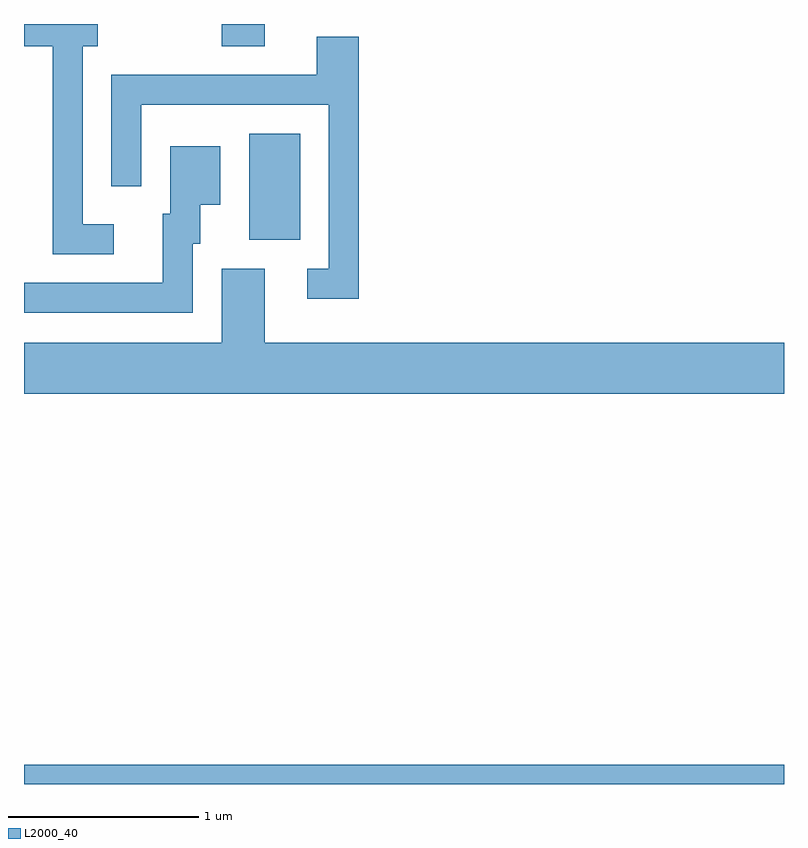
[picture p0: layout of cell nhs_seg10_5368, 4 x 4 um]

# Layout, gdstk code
import gdstk
lib = gdstk.Library(unit=1e-6, precision=1e-09)
def R(c, l, rs):  # rectangles x0, y0, x1, y1
    for r in rs: c.add(gdstk.rectangle(r[:2], r[2:], *l))
def P(c, l, *ps):  # polygons
    for p in ps: c.add(gdstk.Polygon(p, *l))
L2000_40 = (2000, 40)

nhs_seg10_5368 = lib.new_cell('nhs_seg10_5368')
R(nhs_seg10_5368, L2000_40, [(343.611,2118.522,347.611,2118.624), (344.796,2121.386,345.064,2121.944), (344.651,2122.406,344.879,2122.522)])
P(nhs_seg10_5368, L2000_40, [(344.083,2121.469),(343.919,2121.469),(343.919,2122.406),(343.998,2122.406),(343.998,2122.522),(343.611,2122.522),(343.611,2122.406),(343.761,2122.406),(343.761,2121.311),(344.083,2121.311)],
  [(345.374,2122.454),(345.151,2122.454),(345.151,2122.254),(344.071,2122.254),(344.071,2121.668),(344.229,2121.668),(344.229,2122.096),(345.216,2122.096),(345.216,2121.234),(345.103,2121.234),(345.103,2121.076),(345.374,2121.076)],
  [(344.499,2121.366),(344.539,2121.366),(344.539,2121.571),(344.644,2121.571),(344.644,2121.879),(344.381,2121.879),(344.381,2121.524),(344.341,2121.524),(344.341,2121.159),(343.611,2121.159),(343.611,2121.001),(344.499,2121.001)],
  [(347.611,2120.844),(344.879,2120.844),(344.879,2121.234),(344.651,2121.234),(344.651,2120.844),(343.611,2120.844),(343.611,2120.576),(347.611,2120.576)])

lib.write_gds('nhs_seg10_5368.gds')
